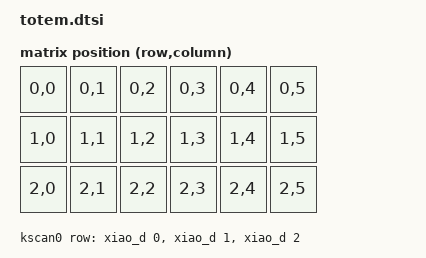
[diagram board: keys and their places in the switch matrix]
/*
 * Copyright (c) 2022 The ZMK Contributors
 *
 * SPDX-License-Identifier: MIT
 */

#include <dt-bindings/zmk/matrix_transform.h>

/ {
    chosen {
        zmk,kscan = &kscan0;
        zmk,matrix_transform = &default_transform;
    };

    default_transform: keymap_transform_0 {
        compatible = "zmk,matrix-transform";
        columns = <6>;
        rows = <3>;
        map = <
        //  LKey 1 |LKey 2 |LKey 3      RKey 1 |RKey 2 |RKey 3
            RC(0,0) RC(0,1) RC(0,2)     RC(0,3) RC(0,4) RC(0,5)
        //  LKey 4 |LKey 5 |LKey 6      RKey 4 |RKey 5 |RKey 6
            RC(1,0) RC(1,1) RC(1,2)     RC(1,3) RC(1,4) RC(1,5)
        //  LKey 7 |LKey 8 |LKey 9      RKey 7 |RKey 8 |RKey 9
            RC(2,0) RC(2,1) RC(2,2)     RC(2,3) RC(2,4) RC(2,5)
        >;
    };


    kscan0: kscan_0 {
        compatible = "zmk,kscan-gpio-matrix";
        label = "KSCAN";
        
        diode-direction = "col2row"; 
        row-gpios
            = <&xiao_d 0 (GPIO_ACTIVE_HIGH | GPIO_PULL_DOWN)>
            , <&xiao_d 1 (GPIO_ACTIVE_HIGH | GPIO_PULL_DOWN)>
            , <&xiao_d 2 (GPIO_ACTIVE_HIGH | GPIO_PULL_DOWN)>
            ;
    };

    wired_split {
        compatible = "zmk,wired-split";
        device = <&xiao_serial>;
        status = "okay";
    };
};

&uart0 {
    status = "okay";
};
